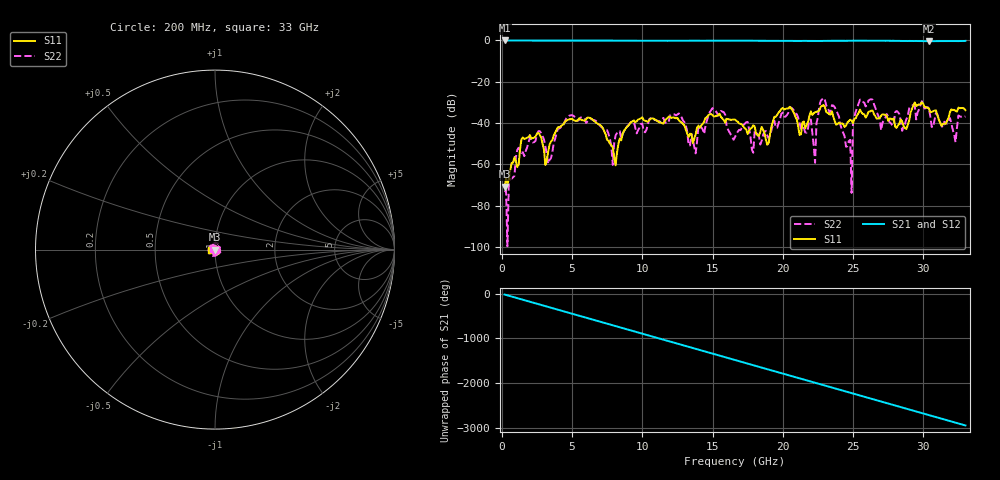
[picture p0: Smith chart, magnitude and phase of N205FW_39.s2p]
# GHZ S RI R 50
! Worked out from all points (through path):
!   329 points, 200 MHz to 33 GHz, reference 50 ohm
!   highest |S21| = -0.02 dB at 200 MHz (marker M1); lowest = -0.4 dB at 30.4 GHz (marker M2)
!   group delay of S21, straight-line fit = 248 ps
!   lowest |S11| = -70.9 dB at 200 MHz (marker M3), VSWR 1.00, Z = 50 - j0.0018 ohm
!   |S11| at or under -10 dB: start of sweep to end of sweep
!   |S22| runs from -99.6 to -27.8 dB; largest |S21 - S12| = 0.0022
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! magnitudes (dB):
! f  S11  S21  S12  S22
! 200 MHz  -70.9  0.0  0.0  -73.4
! 1.5 GHz  -47.0  -0.1  -0.1  -54.2
! 3.1 GHz  -60.3  -0.1  -0.1  -51.2
! 5.7 GHz  -38.6  -0.1  -0.1  -37.3
! 7.9 GHz  -51.9  -0.1  -0.1  -60.3
! 8.3 GHz  -50.1  -0.1  -0.1  -44.0
! 11.2 GHz  -39.7  -0.2  -0.2  -39.1
! 16.6 GHz  -38.4  -0.1  -0.1  -46.8
! 18.9 GHz  -50.6  -0.2  -0.2  -46.1
! 20.5 GHz  -32.1  -0.3  -0.3  -32.5
! 22.1 GHz  -36.1  -0.3  -0.3  -44.7
! 22.3 GHz  -34.8  -0.3  -0.3  -59.2
! 22.7 GHz  -32.1  -0.3  -0.3  -29.3
! 23.7 GHz  -39.0  -0.2  -0.2  -32.4
! 24.8 GHz  -38.4  -0.2  -0.2  -48.2
! 24.9 GHz  -38.8  -0.2  -0.2  -73.8
! 25 GHz  -40.1  -0.1  -0.1  -39.4
! 25.5 GHz  -33.5  -0.1  -0.1  -28.7
! 27.6 GHz  -37.9  -0.2  -0.2  -39.6
! 30.4 GHz  -32.8  -0.4  -0.4  -32.6
! 32.3 GHz  -34.1  -0.3  -0.3  -49.3
! 33 GHz  -33.8  -0.2  -0.2  -36.8
